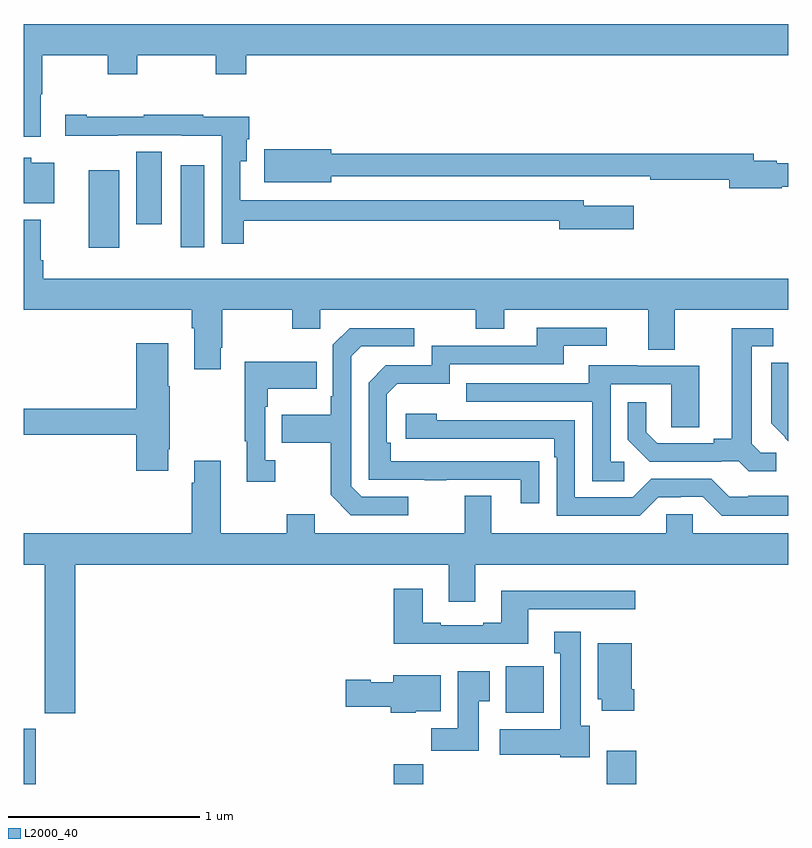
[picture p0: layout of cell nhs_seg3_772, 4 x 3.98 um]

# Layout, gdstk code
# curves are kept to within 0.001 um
import gdstk
lib = gdstk.Library(unit=1e-6, precision=1e-09)
def R(c, l, rs):  # rectangles x0, y0, x1, y1
    for r in rs: c.add(gdstk.rectangle(r[:2], r[2:], *l))
def P(c, l, *ps):  # polygons
    for p in ps: c.add(gdstk.Polygon(p, *l))
L2000_40 = (2000, 40)

nhs_seg3_772 = lib.new_cell('nhs_seg3_772')
R(nhs_seg3_772, L2000_40, [(149,734.4,149.062,734.689), (150.935,734.4,151.091,734.504), (152.051,734.4,152.204,734.575), (151.523,734.774,151.72,735.016), (149.339,737.205,149.5,737.611), (149.822,737.208,149.944,737.638), (149.588,737.328,149.722,737.708)])
P(nhs_seg3_772, L2000_40, [(149.089,738.008),(149.097,738.008),(149.097,738.212),(149.44,738.212),(149.44,738.113),(149.595,738.113),(149.595,738.212),(150.004,738.212),(150.004,738.113),(150.164,738.113),(150.164,738.212),(153,738.212),(153,738.376),(149,738.376),(149,737.787),(149.089,737.787)],
  [(150.152,737.346),(151.802,737.346),(151.802,737.303),(152.191,737.303),(152.191,737.425),(151.93,737.425),(151.93,737.454),(150.132,737.454),(150.132,737.657),(150.166,737.657),(150.166,737.774),(150.179,737.774),(150.179,737.892),(149.939,737.892),(149.939,737.902),(149.629,737.902),(149.629,737.892),(149.329,737.892),(149.329,737.902),(149.217,737.902),(149.217,737.792),(149.492,737.792),(149.492,737.793),(149.826,737.793),(149.826,737.792),(150.036,737.792),(150.036,737.226),(150.152,737.226)],
  [(152.966,737.525),(153,737.525),(153,737.647),(152.94,737.647),(152.94,737.66),(152.818,737.66),(152.818,737.696),(150.61,737.696),(150.61,737.72),(150.258,737.72),(150.258,737.549),(150.61,737.549),(150.61,737.58),(152.026,737.58),(152.026,737.579),(152.278,737.579),(152.278,737.56),(152.69,737.56),(152.69,737.518),(152.966,737.518)],
  [(149.161,737.65),(149.04,737.65),(149.04,737.676),(149,737.676),(149,737.438),(149.161,737.438)],
  [(149.102,737.14),(149.089,737.14),(149.089,737.353),(149,737.353),(149,736.88),(149.879,736.88),(149.879,736.784),(149.891,736.784),(149.891,736.569),(150.031,736.569),(150.031,736.681),(150.039,736.681),(150.039,736.88),(150.406,736.88),(150.406,736.781),(150.552,736.781),(150.552,736.88),(151.366,736.88),(151.366,736.781),(151.513,736.781),(151.513,736.88),(152.267,736.88),(152.267,736.672),(152.407,736.672),(152.407,736.88),(153,736.88),(153,737.044),(149.102,737.044)],
  [(151.697,736.088),(150.92,736.089),(150.92,736.186),(150.9,736.186),(150.9,736.44),(150.953,736.493),(151.23,736.493),(151.23,736.596),(151.825,736.596),(151.825,736.692),(152.05,736.692),(152.05,736.788),(151.685,736.788),(151.685,736.692),(151.134,736.692),(151.134,736.59),(150.894,736.59),(150.804,736.5),(150.804,735.993),(151.099,735.993),(151.099,735.988),(151.211,735.988),(151.211,735.993),(151.601,735.993),(151.601,735.87),(151.697,735.87)],
  [(152.938,736.134),(152.856,736.134),(152.809,736.181),(152.809,736.689),(152.92,736.689),(152.92,736.785),(152.705,736.785),(152.705,736.205),(152.609,736.205),(152.609,736.182),(152.314,736.182),(152.257,736.239),(152.257,736.396),(152.16,736.396),(152.16,736.202),(152.276,736.086),(152.648,736.086),(152.648,736.089),(152.742,736.089),(152.794,736.037),(152.938,736.037)],
  [(151.012,735.903),(150.768,735.903),(150.714,735.957),(150.714,736.638),(150.765,736.689),(151.042,736.689),(151.042,736.785),(150.705,736.785),(150.618,736.698),(150.618,736.429),(150.606,736.429),(150.606,736.333),(150.349,736.333),(150.349,736.186),(150.606,736.186),(150.606,735.913),(150.711,735.807),(151.012,735.807)],
  [(149.755,736.15),(149.763,736.15),(149.763,736.481),(149.755,736.481),(149.755,736.705),(149.588,736.705),(149.588,736.364),(149,736.364),(149,736.228),(149.588,736.228),(149.588,736.038),(149.755,736.038)],
  [(150.316,736.094),(150.264,736.094),(150.264,736.373),(150.277,736.373),(150.277,736.469),(150.533,736.469),(150.533,736.609),(150.156,736.609),(150.156,736.193),(150.167,736.193),(150.167,735.981),(150.316,735.981)],
  [(153,736.604),(152.91,736.604),(152.91,736.286),(152.983,736.213),(152.982,736.212),(153,736.194)],
  [(152.143,736.086),(152.07,736.086),(152.07,736.491),(152.388,736.491),(152.388,736.267),(152.533,736.267),(152.533,736.587),(152.209,736.587),(152.209,736.591),(151.955,736.591),(151.955,736.497),(151.315,736.497),(151.315,736.401),(151.974,736.401),(151.974,735.985),(152.143,735.985)],
  [(153,735.907),(152.791,735.907),(152.791,735.903),(152.691,735.903),(152.598,735.996),(152.283,735.996),(152.187,735.9),(151.884,735.9),(151.884,736.302),(151.16,736.302),(151.16,736.336),(150.999,736.336),(150.999,736.206),(151.775,736.206),(151.775,736.109),(151.788,736.109),(151.788,735.804),(152.223,735.804),(152.319,735.9),(152.438,735.9),(152.438,735.903),(152.553,735.903),(152.653,735.803),(153,735.803)],
  [(149,735.548),(149.11,735.548),(149.11,734.769),(149.27,734.769),(149.27,735.548),(151.223,735.548),(151.223,735.354),(151.363,735.354),(151.363,735.548),(153,735.548),(153,735.712),(152.499,735.712),(152.499,735.81),(152.361,735.81),(152.361,735.712),(151.447,735.712),(151.447,735.907),(151.307,735.907),(151.307,735.712),(150.523,735.712),(150.523,735.811),(150.376,735.811),(150.376,735.712),(150.031,735.712),(150.031,736.09),(149.891,736.09),(149.891,735.977),(149.879,735.977),(149.879,735.712),(149,735.712)],
  [(151.639,735.315),(152.2,735.315),(152.2,735.412),(151.499,735.412),(151.499,735.244),(151.403,735.244),(151.403,735.231),(151.183,735.231),(151.183,735.244),(151.087,735.244),(151.087,735.421),(150.935,735.421),(150.935,735.134),(151.639,735.134)],
  [(151.96,734.706),(151.915,734.706),(151.915,735.196),(151.775,735.196),(151.775,735.083),(151.808,735.083),(151.808,734.686),(151.491,734.686),(151.491,734.552),(151.806,734.552),(151.806,734.54),(151.96,734.54)],
  [(152.195,734.896),(152.182,734.896),(152.182,735.136),(152.003,735.136),(152.003,734.844),(152.024,734.844),(152.024,734.784),(152.195,734.784)],
  [(151.381,734.833),(151.438,734.833),(151.438,734.989),(151.271,734.989),(151.271,734.692),(151.132,734.692),(151.132,734.574),(151.381,734.574)],
  [(151.05,734.78),(151.183,734.78),(151.183,734.968),(150.932,734.968),(150.932,734.932),(150.816,734.932),(150.816,734.945),(150.684,734.945),(150.684,734.803),(150.92,734.803),(150.92,734.774),(151.05,734.774)])

lib.write_gds('nhs_seg3_772.gds')
